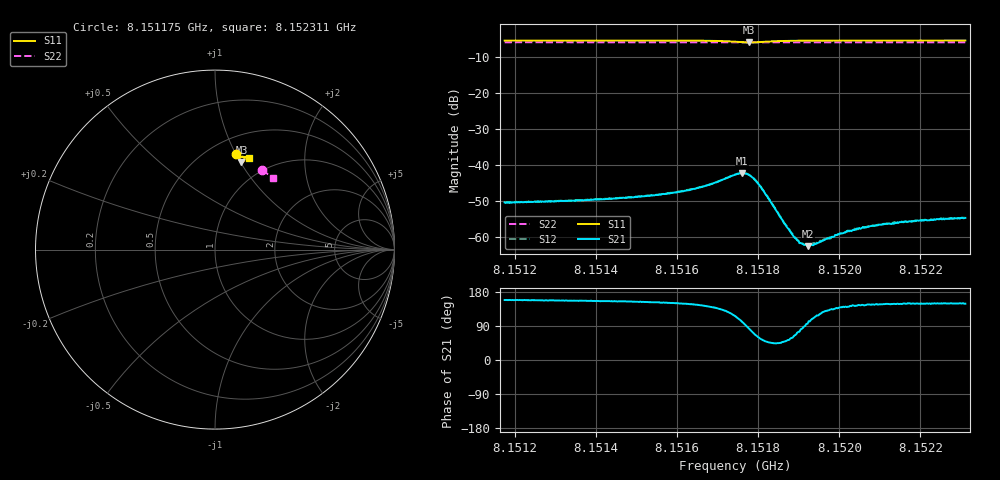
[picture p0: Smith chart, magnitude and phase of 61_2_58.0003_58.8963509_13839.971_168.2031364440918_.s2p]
#  HZ  S  RI  R  50.00
! Rohde & Schwarz Vector Network Analyzer
! Rohde-Schwarz,ZNB20-2Port,1311601062101988,3.16
! Created: UTC 3/21/2024, 12:52:59 AM
! freq[Hz]  re:S11  im:S11  re:S21  im:S21  re:S12  im:S12  re:S22  im:S22
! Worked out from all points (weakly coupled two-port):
!   401 points, 8.151175 GHz to 8.152311 GHz, reference 50 ohm
!   highest |S21| = -42.28 dB at 8.15176 GHz (marker M1); lowest = -62.6 dB at 8.151922 GHz (marker M2)
!   lowest |S11| = -5.8 dB at 8.151777 GHz (marker M3), VSWR 3.08, Z = 38.3 + j50.6 ohm
!   |S11| at or under -10 dB: nowhere
!   |S22| runs from -5.8 to -5.8 dB; largest |S21 - S12| = 0.00016
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8.1511747e9  0.1171 0.5305  -0.00279 0.00111  -0.0028 0.00115  0.2626 0.4418
8.151365e9  0.1314 0.5274  -0.00298 0.0013  -0.00295 0.00135  0.2732 0.4354
8.151473e9  0.1398 0.525  -0.00318 0.00148  -0.00314 0.00158  0.2789 0.4314
8.1515554e9  0.147 0.5226  -0.00343 0.0018  -0.00338 0.00189  0.2833 0.4284
8.1516122e9  0.1526 0.5201  -0.00368 0.00221  -0.00371 0.00226  0.2863 0.4262
8.1516576e9  0.1577 0.5167  -0.00397 0.00285  -0.00397 0.00293  0.2888 0.4245
8.1516946e9  0.1622 0.5116  -0.00422 0.00382  -0.00417 0.00391  0.2907 0.4227
8.1517429e9  0.1636 0.4965  -0.00324 0.00659  -0.00316 0.00665  0.293 0.4205
8.1517599e9  0.1575 0.4898  -0.00152 0.00754  -0.00141 0.00759  0.2934 0.4197
8.151777e9  0.147 0.4886  0.000876 0.00726  0.000968 0.00727  0.2939 0.4193
8.1517912e9  0.1393 0.4937  0.00234 0.00584  0.00244 0.00587  0.2945 0.4191
8.1518082e9  0.1365 0.5023  0.00276 0.00388  0.00282 0.00389  0.2953 0.4188
8.151865e9  0.1458 0.5163  0.00101 0.00115  0.00103 0.00114  0.2987 0.417
8.1518906e9  0.1503 0.5178  0.000406 0.000876  0.000424 0.000891  0.3001 0.4161
8.1519076e9  0.1528 0.5182  0.00011 0.000799  0.000144 0.000806  0.3011 0.4154
8.1519218e9  0.1547 0.5183  -7.32e-05 0.000735  -8.89e-05 0.000758  0.302 0.4149
8.1519332e9  0.1562 0.5183  -0.000243 0.000725  -0.000226 0.000761  0.3025 0.4144
8.1520213e9  0.1652 0.5174  -0.000942 0.000775  -0.000923 0.000757  0.3071 0.4111
8.1520781e9  0.1703 0.5163  -0.00117 0.000793  -0.00115 0.000786  0.3101 0.4087
8.1521235e9  0.174 0.5154  -0.00129 0.000821  -0.00127 0.000831  0.3124 0.4069
8.1521917e9  0.1791 0.514  -0.00144 0.000863  -0.0014 0.000868  0.3158 0.4042
8.152311e9  0.1879 0.5113  -0.00156 0.000954  -0.0016 0.000935  0.3217 0.3992
